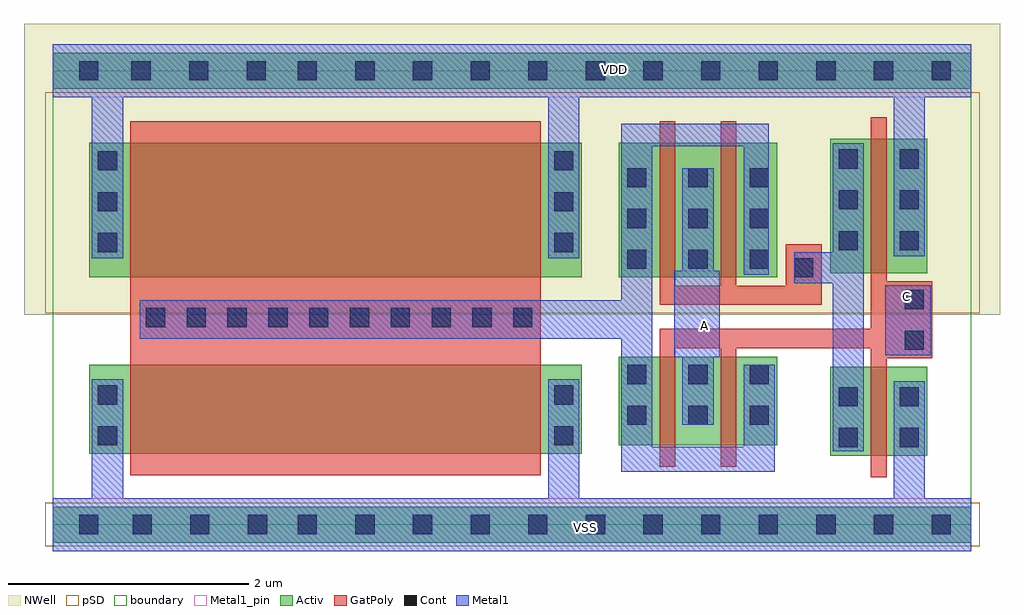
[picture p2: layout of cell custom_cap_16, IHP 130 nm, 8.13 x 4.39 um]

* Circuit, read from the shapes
.subckt custom_cap_16 A C VDD VSS
XM1 VSS n1 VSS VSS sg13_lv_nmos w=0.74u l=3.42u
XM2 A C n1 VSS sg13_lv_nmos w=0.74u l=0.13u m=2
XM3 VSS C n2 VSS sg13_lv_nmos w=0.74u l=0.13u
XM4 VDD n1 VDD VDD sg13_lv_pmos w=1.12u l=3.42u
XM5 A n2 n1 VDD sg13_lv_pmos w=1.12u l=0.13u m=2
XM6 VDD C n2 VDD sg13_lv_pmos w=1.12u l=0.13u
.ends

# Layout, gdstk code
import gdstk
lib = gdstk.Library(unit=1e-6, precision=1e-09)
def R(c, l, rs):  # rectangles x0, y0, x1, y1
    for r in rs: c.add(gdstk.rectangle(r[:2], r[2:], *l))
def A(c, l, x, y, w, h, nx, ny, dx, dy):  # array of equal rectangles
    R(c, l, [(x+i*dx, y+j*dy, x+i*dx+w, y+j*dy+h) for i in range(nx) for j in range(ny)])
def P(c, l, *ps):  # polygons
    for p in ps: c.add(gdstk.Polygon(p, *l))
Activ = (1, 0)
GatPoly = (5, 0)
Cont = (6, 0)
Metal1 = (8, 0)
Metal1_pin = (8, 2)
pSD = (14, 0)
NWell = (31, 0)
boundary = (189, 4)

custom_cap_16 = lib.new_cell('custom_cap_16')
R(custom_cap_16, Activ, [(0,-0.15,7.65,0.15), (6.475,0.575,7.285,1.315), (0.305,0.59,4.405,1.33), (4.715,0.66,6.035,1.4), (0.305,2.06,4.405,3.18), (4.715,2.06,6.035,3.18), (6.475,2.095,7.285,3.215), (0,3.63,7.65,3.93)])
R(custom_cap_16, GatPoly, [(0.645,0.41,4.065,3.36)])
P(custom_cap_16, GatPoly, [(5.055,1.83),(5.055,3.36),(5.185,3.36),(5.185,1.99),(5.565,1.99),(5.565,3.36),(5.695,3.36),(5.695,1.99),(6.105,1.99),(6.105,2.335),(6.405,2.335),(6.405,1.83)],
  [(6.815,0.395),(6.815,1.47),(5.695,1.47),(5.695,0.48),(5.565,0.48),(5.565,1.47),(5.185,1.47),(5.185,0.48),(5.055,0.48),(5.055,1.63),(6.815,1.63),(6.815,3.395),(6.945,3.395),(6.945,2.025),(7.325,2.025),(7.325,1.385),(6.945,1.385),(6.945,0.395)])
A(custom_cap_16, Cont, 0.665, -0.08, 0.16, 0.16, 3, 1, 0.48, 0)
A(custom_cap_16, Cont, 4.785, 0.83, 0.16, 0.16, 3, 2, 0.51, 0.34)
A(custom_cap_16, Cont, 0.775, 1.645, 0.16, 0.16, 10, 1, 0.34, 0)
A(custom_cap_16, Cont, 4.785, 2.13, 0.16, 0.16, 3, 3, 0.51, 0.34)
A(custom_cap_16, Cont, 0.375, 2.27, 0.16, 0.16, 1, 3, 0, 0.34)
A(custom_cap_16, Cont, 4.175, 2.27, 0.16, 0.16, 1, 3, 0, 0.34)
A(custom_cap_16, Cont, 6.545, 2.285, 0.16, 0.16, 1, 3, 0, 0.34)
A(custom_cap_16, Cont, 7.055, 2.285, 0.16, 0.16, 1, 3, 0, 0.34)
A(custom_cap_16, Cont, 0.655, 3.7, 0.16, 0.16, 3, 1, 0.48, 0)
R(custom_cap_16, Cont, [(0.22,-0.08,0.38,0.08), (0.22,-0.08,0.38,0.08), (2.04,-0.08,2.2,0.08), (2.04,-0.08,2.2,0.08), (2.52,-0.08,2.68,0.08), (2.52,-0.08,2.68,0.08), (3,-0.08,3.16,0.08), (3,-0.08,3.16,0.08), (3.48,-0.08,3.64,0.08), (3.48,-0.08,3.64,0.08), (3.96,-0.08,4.12,0.08), (3.96,-0.08,4.12,0.08), (4.44,-0.08,4.6,0.08), (4.44,-0.08,4.6,0.08), (4.92,-0.08,5.08,0.08), (4.92,-0.08,5.08,0.08), (5.4,-0.08,5.56,0.08), (5.4,-0.08,5.56,0.08), (5.88,-0.08,6.04,0.08), (5.88,-0.08,6.04,0.08), (6.36,-0.08,6.52,0.08), (6.36,-0.08,6.52,0.08), (6.84,-0.08,7,0.08), (6.84,-0.08,7,0.08), (7.32,-0.08,7.48,0.08), (7.32,-0.08,7.48,0.08), (6.545,0.645,6.705,0.805), (7.055,0.645,7.215,0.805), (0.375,0.66,0.535,0.82), (4.175,0.66,4.335,0.82), (6.545,0.985,6.705,1.145), (7.055,0.985,7.215,1.145), (0.375,1,0.535,1.16), (4.175,1,4.335,1.16), (7.095,1.455,7.255,1.615), (7.095,1.795,7.255,1.955), (6.175,2.06,6.335,2.22), (0.22,3.7,0.38,3.86), (0.22,3.7,0.38,3.86), (2.04,3.7,2.2,3.86), (2.04,3.7,2.2,3.86), (2.52,3.7,2.68,3.86), (2.52,3.7,2.68,3.86), (3,3.7,3.16,3.86), (3,3.7,3.16,3.86), (3.48,3.7,3.64,3.86), (3.48,3.7,3.64,3.86), (3.96,3.7,4.12,3.86), (3.96,3.7,4.12,3.86), (4.44,3.7,4.6,3.86), (4.44,3.7,4.6,3.86), (4.92,3.7,5.08,3.86), (4.92,3.7,5.08,3.86), (5.4,3.7,5.56,3.86), (5.4,3.7,5.56,3.86), (5.88,3.7,6.04,3.86), (5.88,3.7,6.04,3.86), (6.36,3.7,6.52,3.86), (6.36,3.7,6.52,3.86), (6.84,3.7,7,3.86), (6.84,3.7,7,3.86), (7.32,3.7,7.48,3.86), (7.32,3.7,7.48,3.86)])
R(custom_cap_16, Metal1, [(6.935,1.41,7.315,1.995)])
P(custom_cap_16, Metal1, [(0.325,2.22),(0.325,3.56),(0,3.56),(0,4),(7.65,4),(7.65,3.56),(7.265,3.56),(7.265,2.235),(7.005,2.235),(7.005,3.56),(4.385,3.56),(4.385,2.22),(4.125,2.22),(4.125,3.56),(0.585,3.56),(0.585,2.22)],
  [(0,-0.22),(0,0.22),(0.325,0.22),(0.325,1.21),(0.585,1.21),(0.585,0.22),(4.125,0.22),(4.125,1.21),(4.385,1.21),(4.385,0.22),(7.005,0.22),(7.005,1.195),(7.265,1.195),(7.265,0.22),(7.65,0.22),(7.65,-0.22)],
  [(4.735,0.44),(4.735,1.55),(0.725,1.55),(0.725,1.87),(4.735,1.87),(4.735,3.34),(5.965,3.34),(5.965,2.08),(5.755,2.08),(5.755,3.15),(4.995,3.15),(4.995,0.65),(5.755,0.65),(5.755,1.33),(6.015,1.33),(6.015,0.44)],
  [(5.245,0.83),(5.245,1.395),(5.175,1.395),(5.175,2.115),(5.245,2.115),(5.245,2.97),(5.505,2.97),(5.505,2.115),(5.555,2.115),(5.555,1.395),(5.505,1.395),(5.505,0.83)],
  [(6.495,0.61),(6.495,2.01),(6.175,2.01),(6.175,2.27),(6.495,2.27),(6.495,3.175),(6.755,3.175),(6.755,0.61)])
R(custom_cap_16, Metal1_pin, [(0,-0.22,7.65,0.22), (5.175,1.395,5.555,2.115), (6.935,1.41,7.315,1.995), (0,3.56,7.65,4)])
R(custom_cap_16, pSD, [(-0.065,-0.18,7.72,0.18), (-0.065,1.76,7.72,3.6)])
R(custom_cap_16, NWell, [(-0.24,1.75,7.89,4.17)])
R(custom_cap_16, boundary, [(0,0,7.65,3.78)])
custom_cap_16.add(gdstk.Label('VDD', (4.68,3.795), layer=8, texttype=25))
custom_cap_16.add(gdstk.Label('VSS', (4.435,-0.025), layer=8, texttype=25))
custom_cap_16.add(gdstk.Label('C', (7.11,1.9), layer=8, texttype=25))
custom_cap_16.add(gdstk.Label('A', (5.43,1.655), layer=8, texttype=25))

lib.write_gds('custom_cap_16.gds')
